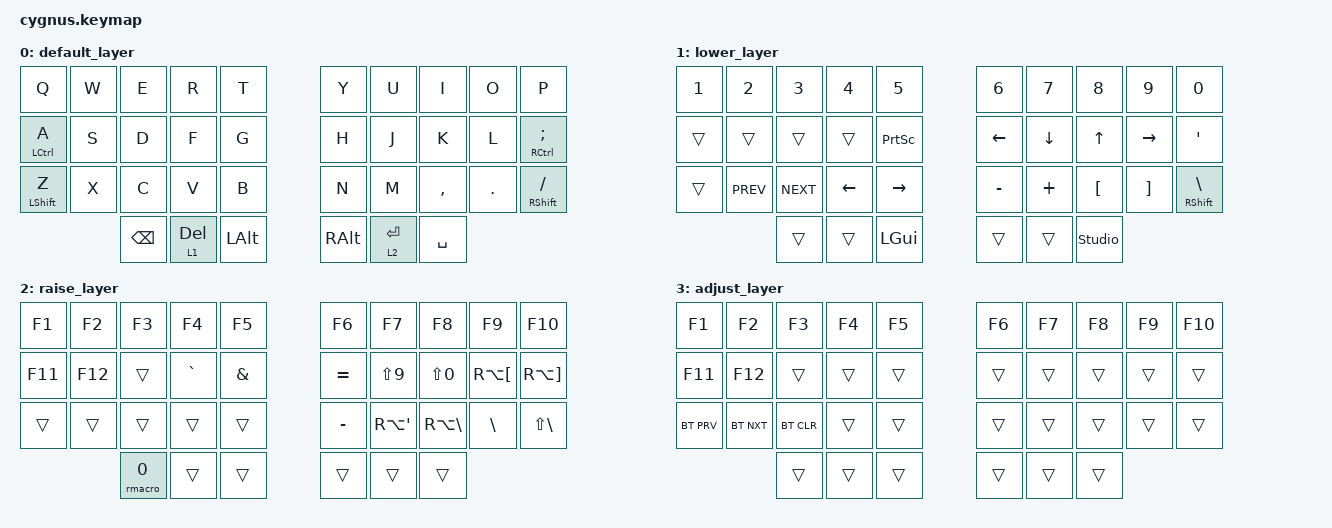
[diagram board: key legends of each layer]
/*
 * Copyright (c) 2020 The ZMK Contributors
 *
 * SPDX-License-Identifier: MIT
 */

#include <behaviors.dtsi>
#include <dt-bindings/zmk/keys.h>
#include <dt-bindings/zmk/bt.h>
#include <behaviors/mouse_keys.dtsi>
#include <dt-bindings/zmk/mouse.h>
#include <behaviors/runtime_macro.dtsi>

&mt {
    tapping-term-ms = <200>;
    flavor = "tap-preferred";
 };
&sk {
     release-after-ms = <2000>;
     quick-release;
 };


/ { 
    combos {
        compatible = "zmk,combos";
		combo_esc { 
            timeout-ms = <50>;
            key-positions = <1 2>;
            bindings = <&kp ESC>;
        };
		combo_tab { 
            timeout-ms = <50>;
            key-positions = <11 12>;
            bindings = <&kp TAB>;
        };
    };

behaviors {
	hm: homerow_mods {
		compatible = "zmk,behavior-hold-tap";
		label = "HOMEROW_MODS";
		#binding-cells = <2>;
		tapping-term-ms = <240>;
		quick_tap_ms = <0>;
		flavor = "tap-preferred";
		bindings = <&kp>, <&kp>;
	};
	hs: homerow_shifts {
		compatible = "zmk,behavior-hold-tap";
		label = "HOMEROW_SHIFTS";
		#binding-cells = <2>;
		tapping-term-ms = <150>;
		quick_tap_ms = <0>;
		flavor = "balanced";
		bindings = <&kp>, <&kp>;
	};
	td: tapdance {
		compatible = "zmk,behavior-hold-tap";
		label = "TAPDANCE";
		#binding-cells = <2>;
		tapping-term-ms = <190>;
		quick_tap_ms = <0>;
		flavor = "tap-preferred";
		bindings = <&kp>, <&kp>;
	};
};

keymap {
	compatible = "zmk,keymap";
	
	default_layer {
		bindings = <
			&kp Q 	   	 &kp W 		&kp E		&kp R		&kp T				&kp Y 		&kp U		&kp I		&kp O		&kp P
			&hm LCTRL A  &kp S 		&kp D		&kp F	 	&kp G		 		&kp H 		&kp J		&kp K		&kp L 		&hm RCTRL SEMI
			&hs LSHIFT Z &kp X		&kp C 		&kp V 		&kp B   			&kp N		&kp M  		&kp COMMA 	&kp PERIOD	&hs RSHIFT SLASH
									&kp BSPC	&lt 1 DEL	&kp LALT			&kp RALT	&lt 2 RET	&kp SPACE	 
		>;
	};

	lower_layer {
		bindings = <
			&kp N1		&kp N2 		&kp N3		&kp N4		&kp N5				&kp N6 		&kp N7		&kp N8		&kp N9		&kp N0
			&trans		&trans		&trans		&trans		&kp PSCRN 			&kp LEFT	&kp DOWN	&kp UP		&kp RIGHT	&kp SQT
			&trans		&kp C_PREV	&kp C_NEXT	&kp LEFT	&kp RIGHT			&kp MINUS	&kp PLUS	&kp LBKT	&kp RBKT	&hs RSHIFT BSLH
									&trans		&trans		&kp LGUI			&trans		&trans		&studio_unlock
		>;
	};

	raise_layer {
		bindings = <
			&kp F1		&kp F2 		&kp F3		&kp F4		&kp F5				&kp F6 		&kp F7		&kp F8		&kp F9		&kp F10
			&kp F11		&kp F12		&trans		&kp GRAVE	&kp AMPS			&kp EQUAL	&kp LS(N9) 	&kp LS(N0)	&kp RA(LBKT) &kp RA(RBKT)
			&trans		&trans	 	&trans		&trans		&trans				&kp MINUS   &kp RA(SQT) &kp RA(BSLH) &kp BSLH	&kp LS(BSLH)
									&rmacro 0	&trans		&trans				&trans		&trans		&trans
		>;
	};

	adjust_layer {
		bindings = <
			&kp F1		&kp F2 		&kp F3		&kp F4		&kp F5				&kp F6 		&kp F7		&kp F8		&kp F9		&kp F10
			&kp F11		&kp F12		&trans		&trans		&trans	 			&trans		&trans		&trans		&trans		&trans
			&bt BT_PRV	&bt BT_NXT 	&bt BT_CLR	&trans		&trans				&trans		&trans		&trans		&trans		&trans
									&trans		&trans		&trans				&trans		&trans		&trans
		>;
	};
};
};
